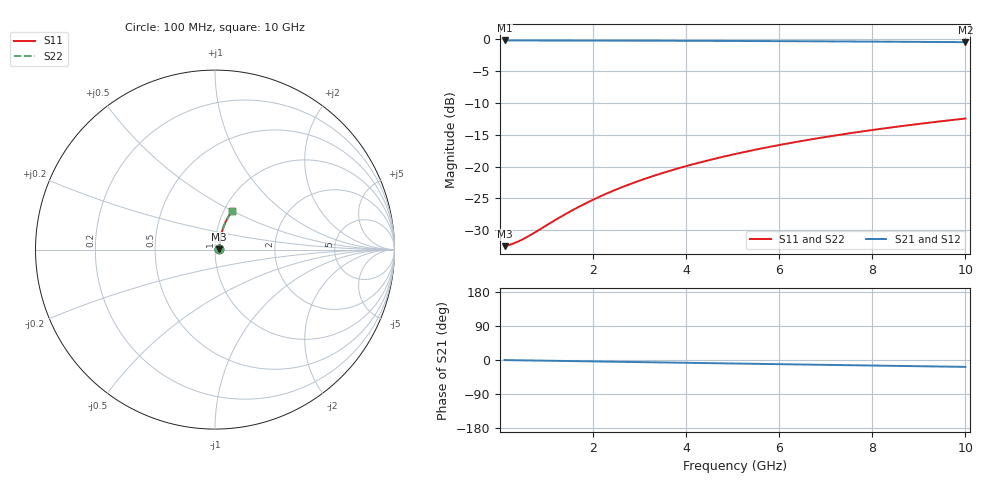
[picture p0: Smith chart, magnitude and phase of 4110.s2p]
# Hz S RI R 50.00
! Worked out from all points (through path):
!   100 points, 100 MHz to 10 GHz, reference 50 ohm
!   highest |S21| = -0.21 dB at 100 MHz (marker M1); lowest = -0.5 dB at 10 GHz (marker M2)
!   group delay of S21, straight-line fit = 5.05 ps
!   lowest |S11| = -32.5 dB at 100 MHz (marker M3), VSWR 1.05, Z = 52.4 + j0.25 ohm
!   |S11| at or under -10 dB: start of sweep to end of sweep
!   |S22| runs from -32.5 to -12.5 dB; largest |S21 - S12| = 0
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1e8  0.0236 0.00238  0.9764 -0.00315  0.9764 -0.00315  0.0236 0.00238
2e8  0.0238 0.00476  0.9762 -0.00631  0.9762 -0.00631  0.0238 0.00476
3e8  0.0239 0.00714  0.9761 -0.00946  0.9761 -0.00946  0.0239 0.00714
5e8  0.0242 0.0119  0.9758 -0.0158  0.9758 -0.0158  0.0242 0.0119
7e8  0.0245 0.0166  0.9755 -0.022  0.9755 -0.022  0.0245 0.0166
1.2e9  0.0255 0.0285  0.9745 -0.0378  0.9745 -0.0378  0.0255 0.0285
1.4e9  0.026 0.0332  0.974 -0.044  0.974 -0.044  0.026 0.0332
1.8e9  0.0271 0.0427  0.9728 -0.0565  0.9728 -0.0565  0.0271 0.0427
2.2e9  0.0284 0.052  0.9714 -0.069  0.9714 -0.069  0.0284 0.052
2.6e9  0.03 0.0614  0.9698 -0.0815  0.9698 -0.0815  0.03 0.0614
3e9  0.0318 0.0707  0.968 -0.0938  0.968 -0.0938  0.0318 0.0707
3.4e9  0.0338 0.0799  0.9659 -0.1062  0.9659 -0.1062  0.0338 0.0799
3.8e9  0.036 0.0891  0.9635 -0.1184  0.9635 -0.1184  0.036 0.0891
4.2e9  0.0385 0.0981  0.961 -0.1306  0.961 -0.1306  0.0385 0.0981
4.6e9  0.0412 0.1071  0.9581 -0.1427  0.9581 -0.1427  0.0412 0.1071
5.1e9  0.0449 0.1183  0.9543 -0.1577  0.9543 -0.1577  0.0449 0.1183
5.9e9  0.0514 0.1357  0.9475 -0.1813  0.9475 -0.1813  0.0514 0.1357
6.7e9  0.0589 0.1527  0.9397 -0.2045  0.9397 -0.2045  0.0589 0.1527
7.5e9  0.0671 0.1693  0.9312 -0.2273  0.9312 -0.2273  0.0671 0.1693
8.4e9  0.0772 0.1872  0.9206 -0.2522  0.9206 -0.2522  0.0772 0.1872
9.2e9  0.087 0.2026  0.9104 -0.2738  0.9104 -0.2738  0.087 0.2026
1e10  0.0974 0.2173  0.8995 -0.2948  0.8995 -0.2948  0.0974 0.2173
